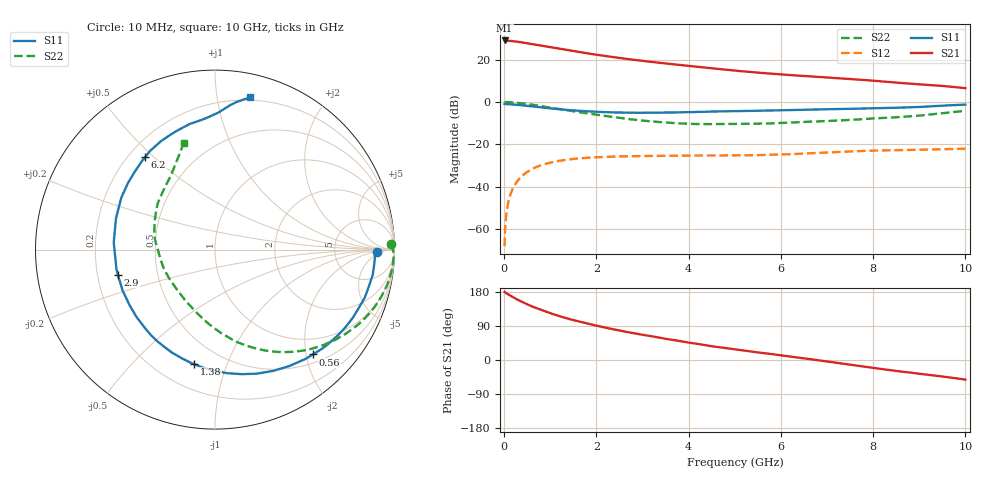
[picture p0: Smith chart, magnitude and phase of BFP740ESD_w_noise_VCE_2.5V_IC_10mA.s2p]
! Infineon Technologies  Discrete & RF Semiconductors
! BFP740ESD
! VCE =  2.5 V,  IC =  10 mA
! Common Emitter S-Parameters:  Jan 2016
# GHz  S  MA  R  50
!  f  S11  S21  S12  S22
! GHz  MAG  ANG  MAG  ANG  MAG  ANG  MAG  ANG
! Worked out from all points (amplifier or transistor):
!   233 points, 10 MHz to 10 GHz, reference 50 ohm
!   highest |S21| = 29.0 dB at 10 MHz (marker M1)
!   |S21| within 3 dB of that: start of sweep to 957.2 MHz
!   unconditionally stable (mu >= 1): 5.149 GHz to 9.092 GHz
!   at 200 MHz: K = 0.08, MSG = 34.5 dB, |S12| = -40.3 dB
!   at 1.74 GHz: K = 0.40, MSG = 24.8 dB, |S12| = -26.4 dB
!   at 10 GHz: K = 0.73, MSG = 14.3 dB, |S12| = -22.0 dB
!   lowest NFmin = 0.60 dB at 450 MHz
!   S11 on the Smith chart (normalised r, x): 10 MHz: 19, -3; 560 MHz: 0.66, -2.13; 1.38 GHz: 0.35, -0.77; 2.9 GHz: 0.29, -0.12; 6.2 GHz: 0.27, +0.47; 10 GHz: 0.18, +1.24
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0.01  0.901 -1.0  28.25 179.7  0.0004 85.6  0.9837 1.7
0.02  0.8921 -1.9  27.82 178.4  0.001 89.3  0.9952 -1.1
0.07  0.8902 -6.4  27.78 174.6  0.0034 86.4  0.9945 -4.1
0.15  0.882 -13.6  27.52 168.7  0.0073 82.2  0.9865 -9.0
0.26  0.8625 -23.0  26.59 161.1  0.0124 76.7  0.9644 -15.4
0.4  0.836 -34.5  25.3 152.6  0.0185 70.1  0.9282 -22.9
0.56  0.7989 -47.0  23.68 143.7  0.0246 63.2  0.8792 -30.7
0.7  0.7698 -57.4  22.37 136.7  0.0294 57.9  0.8362 -37.1
0.9  0.7296 -71.3  20.52 127.6  0.035 51.0  0.7733 -45.5
1.12  0.6886 -85.3  18.63 118.7  0.0398 44.4  0.7063 -53.8
1.38  0.6484 -100.5  16.65 109.1  0.0439 37.8  0.6344 -62.7
1.68  0.6143 -115.9  14.74 99.6  0.0474 31.8  0.5652 -71.5
2.2  0.5766 -139.2  12.12 85.2  0.051 23.8  0.469 -85.4
2.6  0.564 -155.2  10.58 75.3  0.0524 19.0  0.409 -96.1
2.9  0.5587 -165.5  9.617 68.7  0.0531 16.4  0.3747 -103.8
3.4  0.5612 179.0  8.326 58.3  0.0538 13.0  0.3348 -116.9
4  0.5786 162.5  7.12 45.9  0.0547 9.8  0.307 -134.0
5.1  0.6121 141.4  5.377 26.5  0.0553 6.7  0.3043 -161.9
6.2  0.6458 127.0  4.319 9.3  0.0589 6.3  0.3272 175.3
6.8  0.6671 119.2  3.908 -0.5  0.063 5.1  0.3491 164.9
8.4  0.7271 95.7  2.925 -27.3  0.0729 -3.9  0.4308 133.1
10  0.8694 77.2  2.124 -51.8  0.0792 -13.0  0.6197 106.3
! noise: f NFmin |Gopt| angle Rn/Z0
0.45  0.6  0.2  3  0.08
0.9  0.63  0.19  13  0.1
1.9  0.65  0.18  17  0.1
2.4  0.7  0.12  37  0.11
5.5  0.9  0.24  -138  0.14
10  1.66  0.57  -90  0.48
